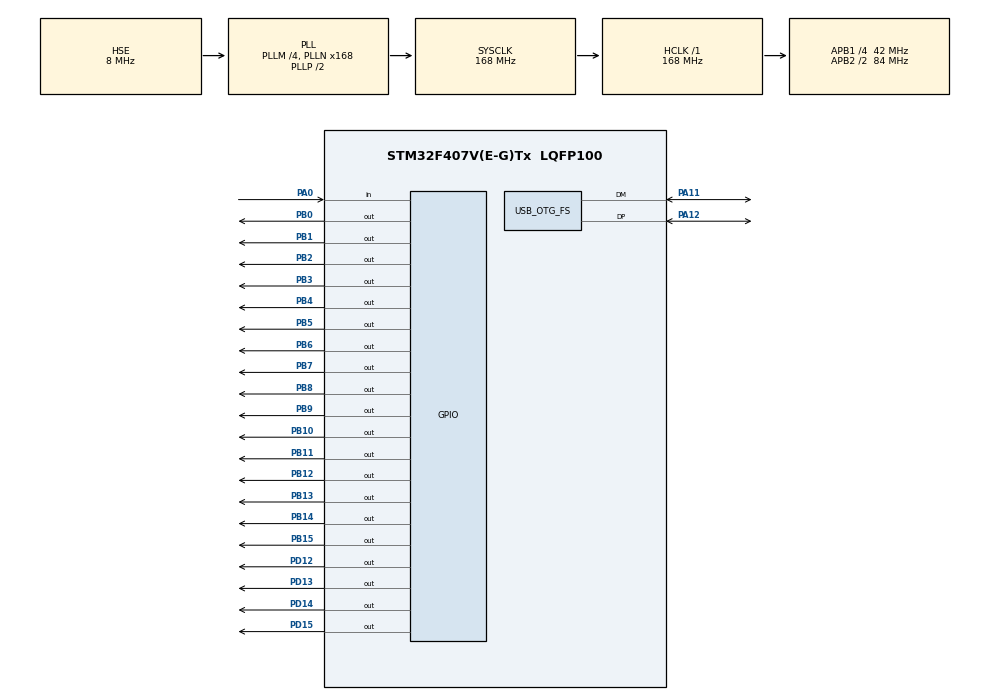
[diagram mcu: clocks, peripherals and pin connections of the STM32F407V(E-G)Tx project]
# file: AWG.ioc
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Mcu.Family=STM32F4
Mcu.Name=STM32F407V(E-G)Tx
Mcu.Package=LQFP100
NVIC.OTG_FS_IRQn=true\:0\:0\:false\:false\:true
NVIC.PriorityGroup=NVIC_PRIORITYGROUP_0
PA0-WKUP.Signal=GPIO_Input
PA11.Mode=Device_Only
PA11.Signal=USB_OTG_FS_DM
PA12.Mode=Device_Only
PA12.Signal=USB_OTG_FS_DP
PB0.Signal=GPIO_Output
PB1.Signal=GPIO_Output
PB10.Signal=GPIO_Output
PB11.Signal=GPIO_Output
PB12.Signal=GPIO_Output
PB13.Signal=GPIO_Output
PB14.Signal=GPIO_Output
PB15.Signal=GPIO_Output
PB2.Signal=GPIO_Output
PB3.Signal=GPIO_Output
PB4.Signal=GPIO_Output
PB5.Signal=GPIO_Output
PB6.Signal=GPIO_Output
PB7.Signal=GPIO_Output
PB8.Signal=GPIO_Output
PB9.Signal=GPIO_Output
PD12.Signal=GPIO_Output
PD13.Signal=GPIO_Output
PD14.Signal=GPIO_Output
PD15.Signal=GPIO_Output
PH0-OSC_IN.Mode=HSE-External-Oscillator
PH0-OSC_IN.Signal=RCC_OSC_IN
PH1-OSC_OUT.Mode=HSE-External-Oscillator
PH1-OSC_OUT.Signal=RCC_OSC_OUT
ProjectManager.HeapSize=0x200
ProjectManager.StackSize=0x400
ProjectManager.TargetToolchain=MDK-ARM V5
RCC.48MHZClocksFreq_Value=48000000
RCC.AHBFreq_Value=168000000
RCC.APB1CLKDivider=RCC_HCLK_DIV4
RCC.APB1Freq_Value=42000000
RCC.APB1TimFreq_Value=84000000
RCC.APB2CLKDivider=RCC_HCLK_DIV2
RCC.APB2Freq_Value=84000000
RCC.APB2TimFreq_Value=168000000
RCC.CortexFreq_Value=168000000
RCC.HCLKFreq_Value=168000000
RCC.HSE_VALUE=8000000
RCC.HSI_VALUE=16000000
RCC.LSE_VALUE=32768
RCC.PLLM=4
RCC.PLLN=168
RCC.PLLQ=7
RCC.SYSCLKFreq_VALUE=168000000
RCC.SYSCLKSource=RCC_SYSCLKSOURCE_PLLCLK
RCC.VCOOutputFreq_Value=336000000
USB_DEVICE.CLASS_NAME_FS=CDC
USB_DEVICE.VirtualModeFS=Cdc_FS
USB_OTG_FS.VirtualMode=Device_Only
VP_USB_DEVICE_VS_USB_DEVICE_CDC_FS.Mode=CDC_FS
board=STM32F4DISCOVERY

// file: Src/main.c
/**
  ******************************************************************************
  * File Name          : main.c
  * Description        : Main program body
  ******************************************************************************
  * This notice applies to any and all portions of this file
  * that are not between comment pairs USER CODE BEGIN and
  * USER CODE END. Other portions of this file, whether
  * inserted by the user or by software development tools
  * are owned by their respective copyright owners.
  *
  * Copyright (c) 2017 STMicroelectronics International N.V.
  * All rights reserved.
  *
  * Redistribution and use in source and binary forms, with or without
  * modification, are permitted, provided that the following conditions are met:
  *
  * 1. Redistribution of source code must retain the above copyright notice,
  *    this list of conditions and the following disclaimer.
  * 2. Redistributions in binary form must reproduce the above copyright notice,
  *    this list of conditions and the following disclaimer in the documentation
  *    and/or other materials provided with the distribution.
  * 3. Neither the name of STMicroelectronics nor the names of other
  *    contributors to this software may be used to endorse or promote products
  *    derived from this software without specific written permission.
  * 4. This software, including modifications and/or derivative works of this
  *    software, must execute solely and exclusively on microcontroller or
  *    microprocessor devices manufactured by or for STMicroelectronics.
  * 5. Redistribution and use of this software other than as permitted under
  *    this license is void and will automatically terminate your rights under
  *    this license.
  *
  * THIS SOFTWARE IS PROVIDED BY STMICROELECTRONICS AND CONTRIBUTORS "AS IS"
  * AND ANY EXPRESS, IMPLIED OR STATUTORY WARRANTIES, INCLUDING, BUT NOT
  * LIMITED TO, THE IMPLIED WARRANTIES OF MERCHANTABILITY, FITNESS FOR A
  * PARTICULAR PURPOSE AND NON-INFRINGEMENT OF THIRD PARTY INTELLECTUAL PROPERTY
  * RIGHTS ARE DISCLAIMED TO THE FULLEST EXTENT PERMITTED BY LAW. IN NO EVENT
  * SHALL STMICROELECTRONICS OR CONTRIBUTORS BE LIABLE FOR ANY DIRECT, INDIRECT,
  * INCIDENTAL, SPECIAL, EXEMPLARY, OR CONSEQUENTIAL DAMAGES (INCLUDING, BUT NOT
  * LIMITED TO, PROCUREMENT OF SUBSTITUTE GOODS OR SERVICES; LOSS OF USE, DATA,
  * OR PROFITS; OR BUSINESS INTERRUPTION) HOWEVER CAUSED AND ON ANY THEORY OF
  * LIABILITY, WHETHER IN CONTRACT, STRICT LIABILITY, OR TORT (INCLUDING
  * NEGLIGENCE OR OTHERWISE) ARISING IN ANY WAY OUT OF THE USE OF THIS SOFTWARE,
  * EVEN IF ADVISED OF THE POSSIBILITY OF SUCH DAMAGE.
  *
  ******************************************************************************
  */
#include "main.h"
#include "stm32f4xx_hal.h"
#include "usb_device.h"

/* USER CODE BEGIN Includes */
#include "stdio.h"
#include "usbd_cdc_if.h"
/* USER CODE END Includes */

/* USER CODE BEGIN PV */
uint8_t receive_data[64];
uint8_t mystring[] = "Hello World!!\r";
uint8_t buffer_to_send[64];
float a = 0.009;
/* Private variables ---------------------------------------------------------*/

/* USER CODE END PV */

void SystemClock_Config(void);
static void MX_GPIO_Init(void);

/* USER CODE BEGIN PFP */
/* Private function prototypes -----------------------------------------------*/
void tobinstr(unsigned long long int, unsigned int, unsigned int*);
void strrev(unsigned int*, unsigned int);
void writetoawg(unsigned int*);
/* USER CODE END PFP */

/* USER CODE BEGIN 0 */
void tobinstr(unsigned long long int value, unsigned int bitsCount,
	unsigned int* output)
{
	for (int i=(bitsCount-1); i>=0; --i, value>>=1)
		output[i] = (value & 1) + 0;
}

void strrev(unsigned int* data, unsigned int end)
{
    unsigned int temp;
    unsigned int start = 0;

    while (start < end)
    {
        temp = data[start];
        data[start] = data[end];
        data[end] = temp;
        start++;
        end--;
    }
}

void writetoawg(unsigned int* data)
{
	/* Set Data_Select to 1 */
	HAL_GPIO_WritePin(GPIOB, GPIO_PIN_15, GPIO_PIN_SET);

	/* Write bits 5..0 used to load bits 18..13 of the sequencer index */
	if (data[13])
		HAL_GPIO_WritePin(GPIOB, GPIO_PIN_0, GPIO_PIN_SET);
	else
		HAL_GPIO_WritePin(GPIOB, GPIO_PIN_0, GPIO_PIN_RESET);

	if (data[14])
		HAL_GPIO_WritePin(GPIOB, GPIO_PIN_1, GPIO_PIN_SET);
	else
		HAL_GPIO_WritePin(GPIOB, GPIO_PIN_1, GPIO_PIN_RESET);

	if (data[15])
		HAL_GPIO_WritePin(GPIOB, GPIO_PIN_2, GPIO_PIN_SET);
	else
		HAL_GPIO_WritePin(GPIOB, GPIO_PIN_2, GPIO_PIN_RESET);

	if (data[16])
		HAL_GPIO_WritePin(GPIOB, GPIO_PIN_3, GPIO_PIN_SET);
	else
		HAL_GPIO_WritePin(GPIOB, GPIO_PIN_3, GPIO_PIN_RESET);

	if (data[17])
		HAL_GPIO_WritePin(GPIOB, GPIO_PIN_4, GPIO_PIN_SET);
	else
		HAL_GPIO_WritePin(GPIOB, GPIO_PIN_4, GPIO_PIN_RESET);

	if (data[18])
		HAL_GPIO_WritePin(GPIOB, GPIO_PIN_5, GPIO_PIN_SET);
	else
		HAL_GPIO_WritePin(GPIOB, GPIO_PIN_5, GPIO_PIN_RESET);

	HAL_Delay(100);

	/* Set Data_Select to 0 */
	HAL_GPIO_WritePin(GPIOB, GPIO_PIN_15, GPIO_PIN_RESET);

	/*  Write bits 12..0 used to load bits 12..0 of the sequencer index */
	if (data[0])
		HAL_GPIO_WritePin(GPIOB, GPIO_PIN_0, GPIO_PIN_SET);
	else
		HAL_GPIO_WritePin(GPIOB, GPIO_PIN_0, GPIO_PIN_RESET);

	if (data[1])
		HAL_GPIO_WritePin(GPIOB, GPIO_PIN_1, GPIO_PIN_SET);
	else
		HAL_GPIO_WritePin(GPIOB, GPIO_PIN_1, GPIO_PIN_RESET);

	if (data[2])
		HAL_GPIO_WritePin(GPIOB, GPIO_PIN_2, GPIO_PIN_SET);
	else
		HAL_GPIO_WritePin(GPIOB, GPIO_PIN_2, GPIO_PIN_RESET);

	if (data[3])
		HAL_GPIO_WritePin(GPIOB, GPIO_PIN_3, GPIO_PIN_SET);
	else
		HAL_GPIO_WritePin(GPIOB, GPIO_PIN_3, GPIO_PIN_RESET);

	if (data[4])
		HAL_GPIO_WritePin(GPIOB, GPIO_PIN_4, GPIO_PIN_SET);
	else
		HAL_GPIO_WritePin(GPIOB, GPIO_PIN_4, GPIO_PIN_RESET);

	if (data[5])
		HAL_GPIO_WritePin(GPIOB, GPIO_PIN_5, GPIO_PIN_SET);
	else
		HAL_GPIO_WritePin(GPIOB, GPIO_PIN_5, GPIO_PIN_RESET);

	if (data[6])
		HAL_GPIO_WritePin(GPIOB, GPIO_PIN_6, GPIO_PIN_SET);
	else
		HAL_GPIO_WritePin(GPIOB, GPIO_PIN_6, GPIO_PIN_RESET);

	if (data[7])
		HAL_GPIO_WritePin(GPIOB, GPIO_PIN_7, GPIO_PIN_SET);
	else
		HAL_GPIO_WritePin(GPIOB, GPIO_PIN_7, GPIO_PIN_RESET);

	if (data[8])
		HAL_GPIO_WritePin(GPIOB, GPIO_PIN_8, GPIO_PIN_SET);
	else
		HAL_GPIO_WritePin(GPIOB, GPIO_PIN_8, GPIO_PIN_RESET);

	if (data[9])
		HAL_GPIO_WritePin(GPIOB, GPIO_PIN_9, GPIO_PIN_SET);
	else
		HAL_GPIO_WritePin(GPIOB, GPIO_PIN_9, GPIO_PIN_RESET);

	if (data[10])
		HAL_GPIO_WritePin(GPIOB, GPIO_PIN_10, GPIO_PIN_SET);
	else
		HAL_GPIO_WritePin(GPIOB, GPIO_PIN_10, GPIO_PIN_RESET);

	if (data[11])
		HAL_GPIO_WritePin(GPIOB, GPIO_PIN_11, GPIO_PIN_SET);
	else
		HAL_GPIO_WritePin(GPIOB, GPIO_PIN_11, GPIO_PIN_RESET);

	if (data[12])
		HAL_GPIO_WritePin(GPIOB, GPIO_PIN_12, GPIO_PIN_SET);
	else
		HAL_GPIO_WritePin(GPIOB, GPIO_PIN_12, GPIO_PIN_RESET);
}
/* USER CODE END 0 */

int main(void)
{

  /* MCU Configuration----------------------------------------------------------*/

  /* Reset of all peripherals, Initializes the Flash interface and the Systick. */
  HAL_Init();

  /* Configure the system clock */
  SystemClock_Config();

  /* Initialize all configured peripherals */
  MX_GPIO_Init();
  MX_USB_DEVICE_Init();

  /* Infinite loop */
  /* USER CODE BEGIN WHILE */
  while (1)
  {
		uint16_t button = HAL_GPIO_ReadPin(GPIOA, GPIO_PIN_0);
		uint16_t tt_input = HAL_GPIO_ReadPin(GPIOA, GPIO_PIN_1);

		_Bool writeonce = 0;
		unsigned long long int decimal = 0;
		unsigned int data[19] = {0};

		if (tt_input == 1 && writeonce == 0)
		{
			/* Switch on Red LED */
			HAL_GPIO_WritePin(GPIOD, GPIO_PIN_12, GPIO_PIN_SET);

			decimal = 1618;

			/* Converts decimal input to binary */
			tobinstr(decimal, 19, data);

			/* Send 19-bit data string to AWG, toggles Data_Select with delay 100ms*/
			writetoawg(data);
			writeonce = 1;

			/* Switch off Red LED */
			HAL_GPIO_WritePin(GPIOD, GPIO_PIN_12, GPIO_PIN_RESET);
		}
		else if (tt_input == 0 && writeonce == 0)
		{
			/* Switch on Green LED */
			HAL_GPIO_WritePin(GPIOD, GPIO_PIN_14, GPIO_PIN_SET);

			decimal = 420;

			/* Converts decimal input to binary */
			tobinstr(decimal, 19, data);

			/* Send 19-bit data string to AWG, toggles Data_Select with delay 100ms*/
			writetoawg(data);
			writeonce = 1;

			/* Switch off Green LED */
			HAL_GPIO_WritePin(GPIOD, GPIO_PIN_14, GPIO_PIN_RESET);
		}

		CDC_Transmit_FS(mystring, strlen((const char*) mystring));
		sprintf((char*)buffer_to_send,"%0.3f",a);
		CDC_Transmit_FS(buffer_to_send,strlen((const char*)buffer_to_send));
		HAL_Delay(1000);

  /* USER CODE END WHILE */

	}

}

/** System Clock Configuration
*/
void SystemClock_Config(void)
{

  RCC_OscInitTypeDef RCC_OscInitStruct;
  RCC_ClkInitTypeDef RCC_ClkInitStruct;

    /**Configure the main internal regulator output voltage
    */
  __HAL_RCC_PWR_CLK_ENABLE();

  __HAL_PWR_VOLTAGESCALING_CONFIG(PWR_REGULATOR_VOLTAGE_SCALE1);

    /**Initializes the CPU, AHB and APB busses clocks
    */
  RCC_OscInitStruct.OscillatorType = RCC_OSCILLATORTYPE_HSE;
  RCC_OscInitStruct.HSEState = RCC_HSE_ON;
  RCC_OscInitStruct.PLL.PLLState = RCC_PLL_ON;
  RCC_OscInitStruct.PLL.PLLSource = RCC_PLLSOURCE_HSE;
  RCC_OscInitStruct.PLL.PLLM = 4;
  RCC_OscInitStruct.PLL.PLLN = 168;
  RCC_OscInitStruct.PLL.PLLP = RCC_PLLP_DIV2;
  RCC_OscInitStruct.PLL.PLLQ = 7;
  if (HAL_RCC_OscConfig(&RCC_OscInitStruct) != HAL_OK)
  {
    _Error_Handler(__FILE__, __LINE__);
  }

    /**Initializes the CPU, AHB and APB busses clocks
    */
  RCC_ClkInitStruct.ClockType = RCC_CLOCKTYPE_HCLK|RCC_CLOCKTYPE_SYSCLK
                              |RCC_CLOCKTYPE_PCLK1|RCC_CLOCKTYPE_PCLK2;
  RCC_ClkInitStruct.SYSCLKSource = RCC_SYSCLKSOURCE_PLLCLK;
  RCC_ClkInitStruct.AHBCLKDivider = RCC_SYSCLK_DIV1;
  RCC_ClkInitStruct.APB1CLKDivider = RCC_HCLK_DIV4;
  RCC_ClkInitStruct.APB2CLKDivider = RCC_HCLK_DIV2;

  if (HAL_RCC_ClockConfig(&RCC_ClkInitStruct, FLASH_LATENCY_5) != HAL_OK)
  {
    _Error_Handler(__FILE__, __LINE__);
  }

    /**Configure the Systick interrupt time
    */
  HAL_SYSTICK_Config(HAL_RCC_GetHCLKFreq()/1000);

    /**Configure the Systick
    */
  HAL_SYSTICK_CLKSourceConfig(SYSTICK_CLKSOURCE_HCLK);

  /* SysTick_IRQn interrupt configuration */
  HAL_NVIC_SetPriority(SysTick_IRQn, 0, 0);
}

/** Configure pins as
        * Analog
        * Input
        * Output
        * EVENT_OUT
        * EXTI
*/
static void MX_GPIO_Init(void)
{

  GPIO_InitTypeDef GPIO_InitStruct;

  /* GPIO Ports Clock Enable */
  __HAL_RCC_GPIOH_CLK_ENABLE();
  __HAL_RCC_GPIOA_CLK_ENABLE();
  __HAL_RCC_GPIOB_CLK_ENABLE();
  __HAL_RCC_GPIOD_CLK_ENABLE();

  /*Configure GPIO pin Output Level */
  HAL_GPIO_WritePin(GPIOB, GPIO_PIN_0|GPIO_PIN_1|GPIO_PIN_2|GPIO_PIN_10
                          |GPIO_PIN_11|GPIO_PIN_12|GPIO_PIN_13|GPIO_PIN_14
                          |GPIO_PIN_15|GPIO_PIN_3|GPIO_PIN_4|GPIO_PIN_5
                          |GPIO_PIN_6|GPIO_PIN_7|GPIO_PIN_8|GPIO_PIN_9, GPIO_PIN_RESET);

  /*Configure GPIO pin Output Level */
  HAL_GPIO_WritePin(GPIOD, GPIO_PIN_12|GPIO_PIN_13|GPIO_PIN_14|GPIO_PIN_15, GPIO_PIN_RESET);

  /*Configure GPIO pin : PA0 */
  GPIO_InitStruct.Pin = GPIO_PIN_0;
  GPIO_InitStruct.Mode = GPIO_MODE_INPUT;
  GPIO_InitStruct.Pull = GPIO_NOPULL;
  HAL_GPIO_Init(GPIOA, &GPIO_InitStruct);

  /*Configure GPIO pins : PB0 PB1 PB2 PB10
                           PB11 PB12 PB13 PB14
                           PB15 PB3 PB4 PB5
                           PB6 PB7 PB8 PB9 */
  GPIO_InitStruct.Pin = GPIO_PIN_0|GPIO_PIN_1|GPIO_PIN_2|GPIO_PIN_10
                          |GPIO_PIN_11|GPIO_PIN_12|GPIO_PIN_13|GPIO_PIN_14
                          |GPIO_PIN_15|GPIO_PIN_3|GPIO_PIN_4|GPIO_PIN_5
                          |GPIO_PIN_6|GPIO_PIN_7|GPIO_PIN_8|GPIO_PIN_9;
  GPIO_InitStruct.Mode = GPIO_MODE_OUTPUT_PP;
  GPIO_InitStruct.Pull = GPIO_NOPULL;
  GPIO_InitStruct.Speed = GPIO_SPEED_FREQ_LOW;
  HAL_GPIO_Init(GPIOB, &GPIO_InitStruct);

  /*Configure GPIO pins : PD12 PD13 PD14 PD15 */
  GPIO_InitStruct.Pin = GPIO_PIN_12|GPIO_PIN_13|GPIO_PIN_14|GPIO_PIN_15;
  GPIO_InitStruct.Mode = GPIO_MODE_OUTPUT_PP;
  GPIO_InitStruct.Pull = GPIO_NOPULL;
  GPIO_InitStruct.Speed = GPIO_SPEED_FREQ_LOW;
  HAL_GPIO_Init(GPIOD, &GPIO_InitStruct);

}

void _Error_Handler(char * file, int line)
{
  while(1)
  {
  }
}

/************************ (C) COPYRIGHT STMicroelectronics *****END OF FILE****/
